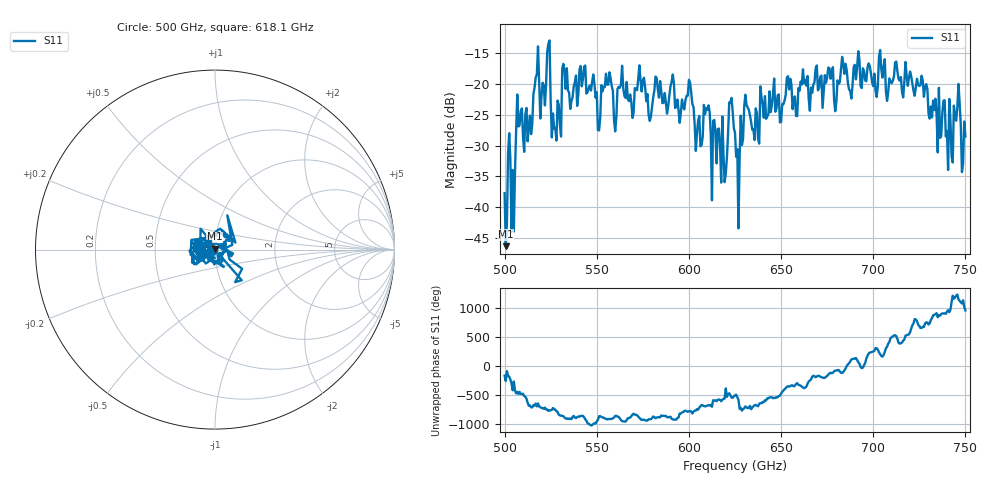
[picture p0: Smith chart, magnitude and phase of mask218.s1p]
!Created with skrf (http://scikit-rf.org).
# GHz S MA R 50.0
!freq magS11 angS11
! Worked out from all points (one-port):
!   401 points, 500 GHz to 750 GHz, reference 50 ohm
!   lowest |S11| = -46.4 dB at 500.6 GHz (marker M1), VSWR 1.01, Z = 49.9 + j0.478 ohm
!   |S11| at or under -10 dB: start of sweep to end of sweep
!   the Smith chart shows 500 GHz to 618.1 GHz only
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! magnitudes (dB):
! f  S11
! 500 GHz  -37.7
! 500.6 GHz  -46.4
! 505 GHz  -44.0
! 507.5 GHz  -26.9
! 513.8 GHz  -25.1
! 516.9 GHz  -18.9
! 520.6 GHz  -19.8
! 523.8 GHz  -13.4
! 526.9 GHz  -27.2
! 531.2 GHz  -17.5
! 542.5 GHz  -19.1
! 550.6 GHz  -27.5
! 562.5 GHz  -20.6
! 593.8 GHz  -22.5
! 600 GHz  -19.3
! 605 GHz  -25.9
! 609.4 GHz  -23.9
! 618.8 GHz  -31.4
! 622.5 GHz  -23.0
! 625 GHz  -27.9
! 626.2 GHz  -30.6
! 631.2 GHz  -23.4
! 636.9 GHz  -24.7
! 656.2 GHz  -24.1
! 683.8 GHz  -16.7
! 687.5 GHz  -21.1
! 718.8 GHz  -20.3
! 750 GHz  -28.5
